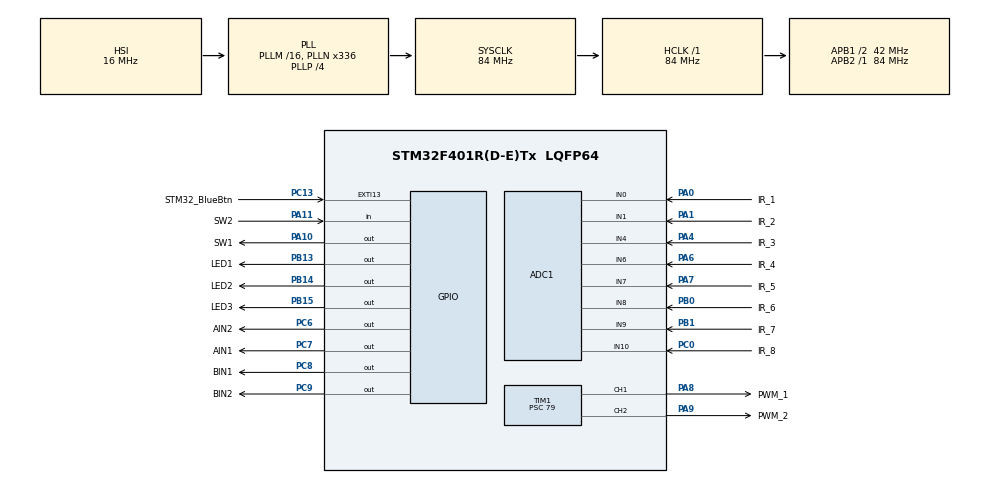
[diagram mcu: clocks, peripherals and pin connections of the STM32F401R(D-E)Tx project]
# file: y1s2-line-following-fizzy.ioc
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ADC1.Channel-0\#ChannelRegularConversion=ADC_CHANNEL_0
ADC1.Channel-1\#ChannelRegularConversion=ADC_CHANNEL_1
ADC1.Channel-2\#ChannelRegularConversion=ADC_CHANNEL_4
ADC1.Channel-3\#ChannelRegularConversion=ADC_CHANNEL_6
ADC1.Channel-4\#ChannelRegularConversion=ADC_CHANNEL_7
ADC1.Channel-5\#ChannelRegularConversion=ADC_CHANNEL_8
ADC1.Channel-6\#ChannelRegularConversion=ADC_CHANNEL_9
ADC1.Channel-7\#ChannelRegularConversion=ADC_CHANNEL_10
ADC1.ContinuousConvMode=ENABLE
ADC1.DMAContinuousRequests=ENABLE
ADC1.NbrOfConversion=8
ADC1.NbrOfConversionFlag=1
ADC1.Rank-0\#ChannelRegularConversion=1
ADC1.Rank-1\#ChannelRegularConversion=2
ADC1.Rank-2\#ChannelRegularConversion=3
ADC1.Rank-3\#ChannelRegularConversion=4
ADC1.Rank-4\#ChannelRegularConversion=5
ADC1.Rank-5\#ChannelRegularConversion=6
ADC1.Rank-6\#ChannelRegularConversion=7
ADC1.Rank-7\#ChannelRegularConversion=8
ADC1.SamplingTime-0\#ChannelRegularConversion=ADC_SAMPLETIME_3CYCLES
ADC1.SamplingTime-1\#ChannelRegularConversion=ADC_SAMPLETIME_3CYCLES
ADC1.SamplingTime-2\#ChannelRegularConversion=ADC_SAMPLETIME_3CYCLES
ADC1.SamplingTime-3\#ChannelRegularConversion=ADC_SAMPLETIME_3CYCLES
ADC1.SamplingTime-4\#ChannelRegularConversion=ADC_SAMPLETIME_3CYCLES
ADC1.SamplingTime-5\#ChannelRegularConversion=ADC_SAMPLETIME_3CYCLES
ADC1.SamplingTime-6\#ChannelRegularConversion=ADC_SAMPLETIME_3CYCLES
ADC1.SamplingTime-7\#ChannelRegularConversion=ADC_SAMPLETIME_3CYCLES
ADC1.ScanConvMode=ENABLE
ADC1.master=1
Dma.ADC1.0.Direction=DMA_PERIPH_TO_MEMORY
Dma.ADC1.0.FIFOMode=DMA_FIFOMODE_DISABLE
Dma.ADC1.0.Instance=DMA2_Stream0
Dma.ADC1.0.MemDataAlignment=DMA_MDATAALIGN_HALFWORD
Dma.ADC1.0.MemInc=DMA_MINC_ENABLE
Dma.ADC1.0.Mode=DMA_CIRCULAR
Dma.ADC1.0.PeriphDataAlignment=DMA_PDATAALIGN_HALFWORD
Dma.ADC1.0.PeriphInc=DMA_PINC_DISABLE
Dma.ADC1.0.Priority=DMA_PRIORITY_LOW
Dma.Request0=ADC1
Mcu.Family=STM32F4
Mcu.Name=STM32F401R(D-E)Tx
Mcu.Package=LQFP64
NVIC.ADC_IRQn=true\:0\:0\:false\:false\:true\:true\:true\:true
NVIC.DMA2_Stream0_IRQn=true\:0\:0\:false\:false\:true\:false\:true\:true
NVIC.PriorityGroup=NVIC_PRIORITYGROUP_0
NVIC.TIM1_UP_TIM10_IRQn=true\:0\:0\:false\:false\:true\:true\:true\:true
PA0-WKUP.GPIO_Label=IR_1
PA0-WKUP.Signal=ADCx_IN0
PA1.GPIO_Label=IR_2
PA1.Signal=ADCx_IN1
PA10.GPIO_Label=SW1
PA10.Signal=GPIO_Output
PA11.GPIO_Label=SW2
PA11.Signal=GPIO_Input
PA13.GPIO_Label=TMS
PA13.Mode=Serial_Wire
PA13.Signal=SYS_JTMS-SWDIO
PA14.GPIO_Label=TCK
PA14.Mode=Serial_Wire
PA14.Signal=SYS_JTCK-SWCLK
PA2.GPIO_Label=USART_TX
PA2.GPIO_Mode=GPIO_MODE_AF_PP
PA2.GPIO_PuPd=GPIO_NOPULL
PA2.GPIO_Speed=GPIO_SPEED_FREQ_LOW
PA2.Signal=USART2_TX
PA3.GPIO_Label=USART_RX
PA3.GPIO_Mode=GPIO_MODE_AF_PP
PA3.GPIO_PuPd=GPIO_NOPULL
PA3.GPIO_Speed=GPIO_SPEED_FREQ_LOW
PA3.Signal=USART2_RX
PA4.GPIO_Label=IR_3
PA4.Signal=ADCx_IN4
PA6.GPIO_Label=IR_4
PA6.Signal=ADCx_IN6
PA7.GPIO_Label=IR_5
PA7.Signal=ADCx_IN7
PA8.GPIO_Label=PWM_1
PA8.Signal=S_TIM1_CH1
PA9.GPIO_Label=PWM_2
PA9.Signal=S_TIM1_CH2
PB0.GPIO_Label=IR_6
PB0.Signal=ADCx_IN8
PB1.GPIO_Label=IR_7
PB1.Signal=ADCx_IN9
PB13.GPIO_Label=LED1
PB13.Signal=GPIO_Output
PB14.GPIO_Label=LED2
PB14.Signal=GPIO_Output
PB15.GPIO_Label=LED3
PB15.Signal=GPIO_Output
PB3.GPIO_Label=SWO
PB3.Signal=SYS_JTDO-SWO
PC0.GPIO_Label=IR_8
PC0.Signal=ADCx_IN10
PC13-ANTI_TAMP.GPIO_Label=STM32_BlueBtn
PC13-ANTI_TAMP.GPIO_ModeDefaultEXTI=GPIO_MODE_IT_FALLING
PC13-ANTI_TAMP.GPIO_PuPd=GPIO_NOPULL
PC13-ANTI_TAMP.Signal=GPXTI13
PC14-OSC32_IN.Mode=LSE-External-Oscillator
PC14-OSC32_IN.Signal=RCC_OSC32_IN
PC15-OSC32_OUT.Mode=LSE-External-Oscillator
PC15-OSC32_OUT.Signal=RCC_OSC32_OUT
PC6.GPIO_Label=AIN2
PC6.Signal=GPIO_Output
PC7.GPIO_Label=AIN1
PC7.Signal=GPIO_Output
PC8.GPIO_Label=BIN1
PC8.Signal=GPIO_Output
PC9.GPIO_Label=BIN2
PC9.Signal=GPIO_Output
PH0\ -\ OSC_IN.Mode=HSE-External-Clock-Source
PH0\ -\ OSC_IN.Signal=RCC_OSC_IN
PH1\ -\ OSC_OUT.Mode=HSE-External-Clock-Source
PH1\ -\ OSC_OUT.Signal=RCC_OSC_OUT
ProjectManager.HeapSize=0x200
ProjectManager.StackSize=0x400
ProjectManager.TargetToolchain=STM32CubeIDE
RCC.48MHZClocksFreq_Value=48000000
RCC.AHBFreq_Value=84000000
RCC.APB1CLKDivider=RCC_HCLK_DIV2
RCC.APB1Freq_Value=42000000
RCC.APB1TimFreq_Value=84000000
RCC.APB2Freq_Value=84000000
RCC.APB2TimFreq_Value=84000000
RCC.CortexFreq_Value=84000000
RCC.HCLKFreq_Value=84000000
RCC.HSE_VALUE=8000000
RCC.HSI_VALUE=16000000
RCC.PLLN=336
RCC.PLLP=RCC_PLLP_DIV4
RCC.PLLQ=7
RCC.SYSCLKFreq_VALUE=84000000
RCC.SYSCLKSource=RCC_SYSCLKSOURCE_PLLCLK
RCC.VCOOutputFreq_Value=336000000
SH.ADCx_IN0.0=ADC1_IN0,IN0
SH.ADCx_IN1.0=ADC1_IN1,IN1
SH.ADCx_IN10.0=ADC1_IN10,IN10
SH.ADCx_IN4.0=ADC1_IN4,IN4
SH.ADCx_IN6.0=ADC1_IN6,IN6
SH.ADCx_IN7.0=ADC1_IN7,IN7
SH.ADCx_IN8.0=ADC1_IN8,IN8
SH.ADCx_IN9.0=ADC1_IN9,IN9
SH.S_TIM1_CH1.0=TIM1_CH1,PWM Generation1 CH1
SH.S_TIM1_CH2.0=TIM1_CH2,PWM Generation2 CH2
TIM1.Channel-PWM\ Generation1\ CH1=TIM_CHANNEL_1
TIM1.Channel-PWM\ Generation2\ CH2=TIM_CHANNEL_2
TIM1.Period=99
TIM1.Prescaler=79
TIM1.Pulse-PWM\ Generation1\ CH1=0
TIM1.Pulse-PWM\ Generation2\ CH2=0
TIM10.Period=9999
TIM10.Prescaler=79
VP_TIM10_VS_ClockSourceINT.Mode=Enable_Timer
VP_TIM1_VS_ClockSourceINT.Mode=Internal
board=NUCLEO-F401RE

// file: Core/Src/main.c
/* USER CODE BEGIN Header */
/**
  ******************************************************************************
  * @file           : main.c
  * @brief          : Main prog
  * @Owner	    	: Krittin Chuaiphikroh <krittin@42bangkok.com> <krittin.ch@kmitl.ac.th>
  * @Attribution	: Myat Noe Oo for approach
  * @Organization	: Department of Robotics and AI, Faculty of Engineering, King Mongkut's Institute of Technology Ladkrabang
  ******************************************************************************
  * @attention
  *
  * Copyright (c) 2024 Krittin Chuaiphikroh.
  * All rights reserved.
  *
  * This software is licensed under terms that can be found in the LICENSE file
  * in the root directory of this software component.
  * If no LICENSE file comes with this software, it is provided AS-IS.
  *
  */
/* USER CODE END Header */
#include "main.h"

/* USER CODE BEGIN PD */
#define ADC_BUF_LEN 16
#define IR_CNT 8
#define PID_LIMIT 160
#define STEER_LIMIT 90
#define STEER_ROTATE 70
#define DT_VAL 0.01f
#define SPEED_VAL 80
#define KP_VAL 0.468f
#define KI_VAL 0.0016f
#define KD_VAL 0.191f
#define IR_BIAS 0
#define IR_THRES 0.5f
/* USER CODE END PD */

ADC_HandleTypeDef hadc1;
DMA_HandleTypeDef hdma_adc1;

TIM_HandleTypeDef htim1;
TIM_HandleTypeDef htim10;

/* USER CODE BEGIN PV */

// ADC buff and sensor read
uint16_t adc_current[ADC_BUF_LEN];
uint32_t sensors_max[8], sensors_min[8];

float g_sensor_norm[8];

float g_steer_map[IR_CNT] = {
		-50,
		-35.72,
		-21.44,
		-7.16,
		7.16,
		21.44,
		35.72,
		50
};

// Latch
float g_prev_sensor_r1 = 0;
float g_prev_sensor_l1 = 0;
float g_prev_sensor_r2 = 0;
float g_prev_sensor_l2 = 0;
float g_prev_sensor_r3 = 0;
float g_prev_sensor_l3 = 0;

// Steering
float g_left_steer;
float g_right_steer;

// Calculation
float pid_expr;
float g_sensor_norm_sum = 0;
float g_position_confidence = 0;
float g_error = 0;
float g_error_previous = 0;
float g_error_integral = 0;
float g_error_derivative = 0;

/* USER CODE END PV */

void SystemClock_Config(void);
static void MX_GPIO_Init(void);
static void MX_DMA_Init(void);
static void MX_ADC1_Init(void);
static void MX_TIM1_Init(void);
static void MX_TIM10_Init(void);

int main(void)
{

  /* MCU Configuration--------------------------------------------------------*/

  /* Reset of all peripherals, Initializes the Flash interface and the Systick. */
  HAL_Init();

  /* Configure the system clock */
  SystemClock_Config();

  /* Initialize all configured peripherals */
  MX_GPIO_Init();
  MX_DMA_Init();
  MX_ADC1_Init();
  MX_TIM1_Init();
  MX_TIM10_Init();
  /* USER CODE BEGIN 2 */
  HAL_TIM_PWM_Start(&htim1 , TIM_CHANNEL_1);
  HAL_TIM_PWM_Start(&htim1 , TIM_CHANNEL_2);
  HAL_TIM_Base_Start_IT(&htim10);
  HAL_ADC_Start_DMA(&hadc1, (uint32_t*)adc_current, ADC_BUF_LEN);

  for (int i = 0; i < IR_CNT; i++)
  {
	  sensors_min[i] = 4095;
	  sensors_max[i] = 0;
  }
  /* USER CODE END 2 */

  /* Infinite loop */
  /* USER CODE BEGIN WHILE */
  while (1)
  {
	  // Accept normalize override
	  while(HAL_GPIO_ReadPin(SW2_GPIO_Port, SW2_Pin) == 0)
	  {
		  for (int i = 0; i < IR_CNT; i++)
		  {
			  sensors_min[i] = (sensors_min[i] > adc_current[i]) ? adc_current[i] : sensors_min[i];
			  sensors_max[i] = (sensors_max[i] < adc_current[i]) ? adc_current[i] : sensors_max[i];
	  	  }
	  }

    /* USER CODE END WHILE */

  }
}

void SystemClock_Config(void)
{
  RCC_OscInitTypeDef RCC_OscInitStruct = {0};
  RCC_ClkInitTypeDef RCC_ClkInitStruct = {0};

  /** Configure the main internal regulator output voltage
  */
  __HAL_RCC_PWR_CLK_ENABLE();
  __HAL_PWR_VOLTAGESCALING_CONFIG(PWR_REGULATOR_VOLTAGE_SCALE2);

  /** Initializes the RCC Oscillators according to the specified parameters
  * in the RCC_OscInitTypeDef structure.
  */
  RCC_OscInitStruct.OscillatorType = RCC_OSCILLATORTYPE_HSI;
  RCC_OscInitStruct.HSIState = RCC_HSI_ON;
  RCC_OscInitStruct.HSICalibrationValue = RCC_HSICALIBRATION_DEFAULT;
  RCC_OscInitStruct.PLL.PLLState = RCC_PLL_ON;
  RCC_OscInitStruct.PLL.PLLSource = RCC_PLLSOURCE_HSI;
  RCC_OscInitStruct.PLL.PLLM = 16;
  RCC_OscInitStruct.PLL.PLLN = 336;
  RCC_OscInitStruct.PLL.PLLP = RCC_PLLP_DIV4;
  RCC_OscInitStruct.PLL.PLLQ = 7;
  if (HAL_RCC_OscConfig(&RCC_OscInitStruct) != HAL_OK)
  {
    Error_Handler();
  }

  /** Initializes the CPU, AHB and APB buses clocks
  */
  RCC_ClkInitStruct.ClockType = RCC_CLOCKTYPE_HCLK|RCC_CLOCKTYPE_SYSCLK
                              |RCC_CLOCKTYPE_PCLK1|RCC_CLOCKTYPE_PCLK2;
  RCC_ClkInitStruct.SYSCLKSource = RCC_SYSCLKSOURCE_PLLCLK;
  RCC_ClkInitStruct.AHBCLKDivider = RCC_SYSCLK_DIV1;
  RCC_ClkInitStruct.APB1CLKDivider = RCC_HCLK_DIV2;
  RCC_ClkInitStruct.APB2CLKDivider = RCC_HCLK_DIV1;

  if (HAL_RCC_ClockConfig(&RCC_ClkInitStruct, FLASH_LATENCY_2) != HAL_OK)
  {
    Error_Handler();
  }
}

static void MX_ADC1_Init(void)
{

  ADC_ChannelConfTypeDef sConfig = {0};

  /** Configure the global features of the ADC (Clock, Resolution, Data Alignment and number of conversion)
  */
  hadc1.Instance = ADC1;
  hadc1.Init.ClockPrescaler = ADC_CLOCK_SYNC_PCLK_DIV4;
  hadc1.Init.Resolution = ADC_RESOLUTION_12B;
  hadc1.Init.ScanConvMode = ENABLE;
  hadc1.Init.ContinuousConvMode = ENABLE;
  hadc1.Init.DiscontinuousConvMode = DISABLE;
  hadc1.Init.ExternalTrigConvEdge = ADC_EXTERNALTRIGCONVEDGE_NONE;
  hadc1.Init.ExternalTrigConv = ADC_SOFTWARE_START;
  hadc1.Init.DataAlign = ADC_DATAALIGN_RIGHT;
  hadc1.Init.NbrOfConversion = 8;
  hadc1.Init.DMAContinuousRequests = ENABLE;
  hadc1.Init.EOCSelection = ADC_EOC_SINGLE_CONV;
  if (HAL_ADC_Init(&hadc1) != HAL_OK)
  {
    Error_Handler();
  }

  /** Configure for the selected ADC regular channel its corresponding rank in the sequencer and its sample time.
  */
  sConfig.Channel = ADC_CHANNEL_0;
  sConfig.Rank = 1;
  sConfig.SamplingTime = ADC_SAMPLETIME_3CYCLES;
  if (HAL_ADC_ConfigChannel(&hadc1, &sConfig) != HAL_OK)
  {
    Error_Handler();
  }

  /** Configure for the selected ADC regular channel its corresponding rank in the sequencer and its sample time.
  */
  sConfig.Channel = ADC_CHANNEL_1;
  sConfig.Rank = 2;
  if (HAL_ADC_ConfigChannel(&hadc1, &sConfig) != HAL_OK)
  {
    Error_Handler();
  }

  /** Configure for the selected ADC regular channel its corresponding rank in the sequencer and its sample time.
  */
  sConfig.Channel = ADC_CHANNEL_4;
  sConfig.Rank = 3;
  if (HAL_ADC_ConfigChannel(&hadc1, &sConfig) != HAL_OK)
  {
    Error_Handler();
  }

  /** Configure for the selected ADC regular channel its corresponding rank in the sequencer and its sample time.
  */
  sConfig.Channel = ADC_CHANNEL_6;
  sConfig.Rank = 4;
  if (HAL_ADC_ConfigChannel(&hadc1, &sConfig) != HAL_OK)
  {
    Error_Handler();
  }

  /** Configure for the selected ADC regular channel its corresponding rank in the sequencer and its sample time.
  */
  sConfig.Channel = ADC_CHANNEL_7;
  sConfig.Rank = 5;
  if (HAL_ADC_ConfigChannel(&hadc1, &sConfig) != HAL_OK)
  {
    Error_Handler();
  }

  /** Configure for the selected ADC regular channel its corresponding rank in the sequencer and its sample time.
  */
  sConfig.Channel = ADC_CHANNEL_8;
  sConfig.Rank = 6;
  if (HAL_ADC_ConfigChannel(&hadc1, &sConfig) != HAL_OK)
  {
    Error_Handler();
  }

  /** Configure for the selected ADC regular channel its corresponding rank in the sequencer and its sample time.
  */
  sConfig.Channel = ADC_CHANNEL_9;
  sConfig.Rank = 7;
  if (HAL_ADC_ConfigChannel(&hadc1, &sConfig) != HAL_OK)
  {
    Error_Handler();
  }

  /** Configure for the selected ADC regular channel its corresponding rank in the sequencer and its sample time.
  */
  sConfig.Channel = ADC_CHANNEL_10;
  sConfig.Rank = 8;
  if (HAL_ADC_ConfigChannel(&hadc1, &sConfig) != HAL_OK)
  {
    Error_Handler();
  }

}

static void MX_TIM1_Init(void)
{

  TIM_ClockConfigTypeDef sClockSourceConfig = {0};
  TIM_MasterConfigTypeDef sMasterConfig = {0};
  TIM_OC_InitTypeDef sConfigOC = {0};
  TIM_BreakDeadTimeConfigTypeDef sBreakDeadTimeConfig = {0};

  htim1.Instance = TIM1;
  htim1.Init.Prescaler = 79;
  htim1.Init.CounterMode = TIM_COUNTERMODE_UP;
  htim1.Init.Period = 99;
  htim1.Init.ClockDivision = TIM_CLOCKDIVISION_DIV1;
  htim1.Init.RepetitionCounter = 0;
  htim1.Init.AutoReloadPreload = TIM_AUTORELOAD_PRELOAD_DISABLE;
  if (HAL_TIM_Base_Init(&htim1) != HAL_OK)
  {
    Error_Handler();
  }
  sClockSourceConfig.ClockSource = TIM_CLOCKSOURCE_INTERNAL;
  if (HAL_TIM_ConfigClockSource(&htim1, &sClockSourceConfig) != HAL_OK)
  {
    Error_Handler();
  }
  if (HAL_TIM_PWM_Init(&htim1) != HAL_OK)
  {
    Error_Handler();
  }
  sMasterConfig.MasterOutputTrigger = TIM_TRGO_RESET;
  sMasterConfig.MasterSlaveMode = TIM_MASTERSLAVEMODE_DISABLE;
  if (HAL_TIMEx_MasterConfigSynchronization(&htim1, &sMasterConfig) != HAL_OK)
  {
    Error_Handler();
  }
  sConfigOC.OCMode = TIM_OCMODE_PWM1;
  sConfigOC.Pulse = 0;
  sConfigOC.OCPolarity = TIM_OCPOLARITY_HIGH;
  sConfigOC.OCNPolarity = TIM_OCNPOLARITY_HIGH;
  sConfigOC.OCFastMode = TIM_OCFAST_DISABLE;
  sConfigOC.OCIdleState = TIM_OCIDLESTATE_RESET;
  sConfigOC.OCNIdleState = TIM_OCNIDLESTATE_RESET;
  if (HAL_TIM_PWM_ConfigChannel(&htim1, &sConfigOC, TIM_CHANNEL_1) != HAL_OK)
  {
    Error_Handler();
  }
  if (HAL_TIM_PWM_ConfigChannel(&htim1, &sConfigOC, TIM_CHANNEL_2) != HAL_OK)
  {
    Error_Handler();
  }
  sBreakDeadTimeConfig.OffStateRunMode = TIM_OSSR_DISABLE;
  sBreakDeadTimeConfig.OffStateIDLEMode = TIM_OSSI_DISABLE;
  sBreakDeadTimeConfig.LockLevel = TIM_LOCKLEVEL_OFF;
  sBreakDeadTimeConfig.DeadTime = 0;
  sBreakDeadTimeConfig.BreakState = TIM_BREAK_DISABLE;
  sBreakDeadTimeConfig.BreakPolarity = TIM_BREAKPOLARITY_HIGH;
  sBreakDeadTimeConfig.AutomaticOutput = TIM_AUTOMATICOUTPUT_DISABLE;
  if (HAL_TIMEx_ConfigBreakDeadTime(&htim1, &sBreakDeadTimeConfig) != HAL_OK)
  {
    Error_Handler();
  }
  HAL_TIM_MspPostInit(&htim1);

}

static void MX_TIM10_Init(void)
{

  htim10.Instance = TIM10;
  htim10.Init.Prescaler = 79;
  htim10.Init.CounterMode = TIM_COUNTERMODE_UP;
  htim10.Init.Period = 9999;
  htim10.Init.ClockDivision = TIM_CLOCKDIVISION_DIV1;
  htim10.Init.AutoReloadPreload = TIM_AUTORELOAD_PRELOAD_DISABLE;
  if (HAL_TIM_Base_Init(&htim10) != HAL_OK)
  {
    Error_Handler();
  }

}

static void MX_DMA_Init(void)
{

  /* DMA controller clock enable */
  __HAL_RCC_DMA2_CLK_ENABLE();

  /* DMA interrupt init */
  /* DMA2_Stream0_IRQn interrupt configuration */
  HAL_NVIC_SetPriority(DMA2_Stream0_IRQn, 0, 0);
  HAL_NVIC_EnableIRQ(DMA2_Stream0_IRQn);

}

static void MX_GPIO_Init(void)
{
  GPIO_InitTypeDef GPIO_InitStruct = {0};

  /* GPIO Ports Clock Enable */
  __HAL_RCC_GPIOC_CLK_ENABLE();
  __HAL_RCC_GPIOH_CLK_ENABLE();
  __HAL_RCC_GPIOA_CLK_ENABLE();
  __HAL_RCC_GPIOB_CLK_ENABLE();

  /*Configure GPIO pin Output Level */
  HAL_GPIO_WritePin(GPIOB, LED1_Pin|LED2_Pin|LED3_Pin, GPIO_PIN_RESET);

  /*Configure GPIO pin Output Level */
  HAL_GPIO_WritePin(GPIOC, AIN2_Pin|AIN1_Pin|BIN1_Pin|BIN2_Pin, GPIO_PIN_RESET);

  /*Configure GPIO pin Output Level */
  HAL_GPIO_WritePin(SW1_GPIO_Port, SW1_Pin, GPIO_PIN_RESET);

  /*Configure GPIO pin : STM32_BlueBtn_Pin */
  GPIO_InitStruct.Pin = STM32_BlueBtn_Pin;
  GPIO_InitStruct.Mode = GPIO_MODE_IT_FALLING;
  GPIO_InitStruct.Pull = GPIO_NOPULL;
  HAL_GPIO_Init(STM32_BlueBtn_GPIO_Port, &GPIO_InitStruct);

  /*Configure GPIO pins : USART_TX_Pin USART_RX_Pin */
  GPIO_InitStruct.Pin = USART_TX_Pin|USART_RX_Pin;
  GPIO_InitStruct.Mode = GPIO_MODE_AF_PP;
  GPIO_InitStruct.Pull = GPIO_NOPULL;
  GPIO_InitStruct.Speed = GPIO_SPEED_FREQ_LOW;
  GPIO_InitStruct.Alternate = GPIO_AF7_USART2;
  HAL_GPIO_Init(GPIOA, &GPIO_InitStruct);

  /*Configure GPIO pins : LED1_Pin LED2_Pin LED3_Pin */
  GPIO_InitStruct.Pin = LED1_Pin|LED2_Pin|LED3_Pin;
  GPIO_InitStruct.Mode = GPIO_MODE_OUTPUT_PP;
  GPIO_InitStruct.Pull = GPIO_NOPULL;
  GPIO_InitStruct.Speed = GPIO_SPEED_FREQ_LOW;
  HAL_GPIO_Init(GPIOB, &GPIO_InitStruct);

  /*Configure GPIO pins : AIN2_Pin AIN1_Pin BIN1_Pin BIN2_Pin */
  GPIO_InitStruct.Pin = AIN2_Pin|AIN1_Pin|BIN1_Pin|BIN2_Pin;
  GPIO_InitStruct.Mode = GPIO_MODE_OUTPUT_PP;
  GPIO_InitStruct.Pull = GPIO_NOPULL;
  GPIO_InitStruct.Speed = GPIO_SPEED_FREQ_LOW;
  HAL_GPIO_Init(GPIOC, &GPIO_InitStruct);

  /*Configure GPIO pin : SW1_Pin */
  GPIO_InitStruct.Pin = SW1_Pin;
  GPIO_InitStruct.Mode = GPIO_MODE_OUTPUT_PP;
  GPIO_InitStruct.Pull = GPIO_NOPULL;
  GPIO_InitStruct.Speed = GPIO_SPEED_FREQ_LOW;
  HAL_GPIO_Init(SW1_GPIO_Port, &GPIO_InitStruct);

  /*Configure GPIO pin : SW2_Pin */
  GPIO_InitStruct.Pin = SW2_Pin;
  GPIO_InitStruct.Mode = GPIO_MODE_INPUT;
  GPIO_InitStruct.Pull = GPIO_NOPULL;
  HAL_GPIO_Init(SW2_GPIO_Port, &GPIO_InitStruct);

}

/* USER CODE BEGIN 4 */
void HAL_TIM_PeriodElapsedCallback(TIM_HandleTypeDef *htim){
	if (htim == &htim10)
	{
		g_sensor_norm_sum = 0;

		for (int i = 0; i < IR_CNT; i++)
		{
			// Normalization
			g_sensor_norm[i] = 1 - ( (float)adc_current[i] - (float)sensors_min[i] ) / ( (float)sensors_max[i] - (float)sensors_min[i] );
			g_sensor_norm_sum += g_sensor_norm[i];
		}

		// Make sure the robot is confidence of its location after feeding input from the sensor
		g_position_confidence = 0;
		for (int i = 0; i < IR_CNT; i++)
			g_position_confidence += g_steer_map[i] * g_sensor_norm[i];

		// PID Error Calculation
		g_error = g_position_confidence - IR_BIAS; // Current pos - bias
		g_error_integral += g_error * DT_VAL; // dt is 0.01ms, in terms of 100 Hz for polling
		g_error_derivative = (g_error - g_error_previous) / DT_VAL;
		g_error_previous = g_error;
		pid_expr = (KP_VAL * g_error) + (KI_VAL * g_error_integral) + (KD_VAL * g_error_derivative);
		pid_expr = (pid_expr > PID_LIMIT) ? PID_LIMIT : ( (pid_expr < -PID_LIMIT) ? -PID_LIMIT : pid_expr); // Make sure pid_expr don't go over specified range

		// Determine new steering value
		g_left_steer = SPEED_VAL + (pid_expr / 2);
		g_right_steer = SPEED_VAL - (pid_expr / 2);

		g_left_steer = (g_left_steer > STEER_LIMIT) ? STEER_LIMIT : ( (g_left_steer < -STEER_LIMIT) ? -STEER_LIMIT : g_left_steer); // Same thing with pid_expr, just ranging.
		g_right_steer = (g_right_steer > STEER_LIMIT) ? STEER_LIMIT : ( (g_right_steer < -STEER_LIMIT) ? -STEER_LIMIT : g_right_steer); // Same thing with pid_expr, just ranging.

		// 	Fixed algorithm for 8 sensors,
		//	TODO: If I ever will touch this again, let's make it as dynamic.
		if (g_sensor_norm[2] > IR_THRES || g_sensor_norm[3] > IR_THRES || g_sensor_norm[4] > IR_THRES || g_sensor_norm[5] > IR_THRES)
		{
			if (g_left_steer >= 0)
			{
				HAL_GPIO_WritePin(AIN1_GPIO_Port, AIN1_Pin, GPIO_PIN_RESET);
				HAL_GPIO_WritePin(AIN2_GPIO_Port, AIN2_Pin, GPIO_PIN_SET);
				TIM1->CCR1 = g_left_steer;
			}
			else if (g_left_steer < 0)
			{
				HAL_GPIO_WritePin(AIN1_GPIO_Port, AIN1_Pin, GPIO_PIN_SET);
				HAL_GPIO_WritePin(AIN2_GPIO_Port, AIN2_Pin, GPIO_PIN_RESET);
				TIM1->CCR1 = g_left_steer;
			}
			if (g_right_steer >= 0)
			{
				HAL_GPIO_WritePin(BIN1_GPIO_Port, BIN1_Pin, GPIO_PIN_SET);
				HAL_GPIO_WritePin(BIN2_GPIO_Port, BIN2_Pin, GPIO_PIN_RESET);
				TIM1->CCR2 = g_right_steer;
			}
			else if (g_right_steer < 0)
			{
				HAL_GPIO_WritePin(BIN1_GPIO_Port, BIN1_Pin, GPIO_PIN_RESET);
				HAL_GPIO_WritePin(BIN2_GPIO_Port, BIN2_Pin, GPIO_PIN_SET);
				TIM1->CCR2 = g_right_steer;
			}
		}
		else
		{
			if (g_prev_sensor_l1 > IR_THRES || g_prev_sensor_l3 > IR_THRES || g_prev_sensor_l2 > IR_THRES)
			{
				HAL_GPIO_WritePin(AIN1_GPIO_Port, AIN1_Pin, GPIO_PIN_RESET);
				HAL_GPIO_WritePin(AIN2_GPIO_Port, AIN2_Pin, GPIO_PIN_SET);
				TIM1->CCR1 = STEER_ROTATE;

				HAL_GPIO_WritePin(BIN1_GPIO_Port, BIN1_Pin, GPIO_PIN_RESET);
				HAL_GPIO_WritePin(BIN2_GPIO_Port, BIN2_Pin, GPIO_PIN_SET);
				TIM1->CCR2 = STEER_ROTATE;
			}
			if (g_prev_sensor_r1 > IR_THRES || g_prev_sensor_r3 > IR_THRES || g_prev_sensor_r2 > IR_THRES)
			{
				HAL_GPIO_WritePin(AIN1_GPIO_Port, AIN1_Pin, GPIO_PIN_SET);
				HAL_GPIO_WritePin(AIN2_GPIO_Port, AIN2_Pin, GPIO_PIN_RESET);
				TIM1->CCR1 = STEER_ROTATE;

				HAL_GPIO_WritePin(BIN1_GPIO_Port, BIN1_Pin, GPIO_PIN_SET);
				HAL_GPIO_WritePin(BIN2_GPIO_Port, BIN2_Pin, GPIO_PIN_RESET);
				TIM1->CCR2 = STEER_ROTATE;
			}
		}

		g_prev_sensor_l3 = g_sensor_norm[IR_CNT - 1];
		g_prev_sensor_l2 = g_sensor_norm[IR_CNT - 2];
		g_prev_sensor_l1 = g_sensor_norm[IR_CNT - 3];
		g_prev_sensor_r1 = g_sensor_norm[2];
		g_prev_sensor_r2 = g_sensor_norm[1];
		g_prev_sensor_r3 = g_sensor_norm[0];
	}
}
/* USER CODE END 4 */

void Error_Handler(void)
{
  __disable_irq();
  while (1)
  {
  }
}
